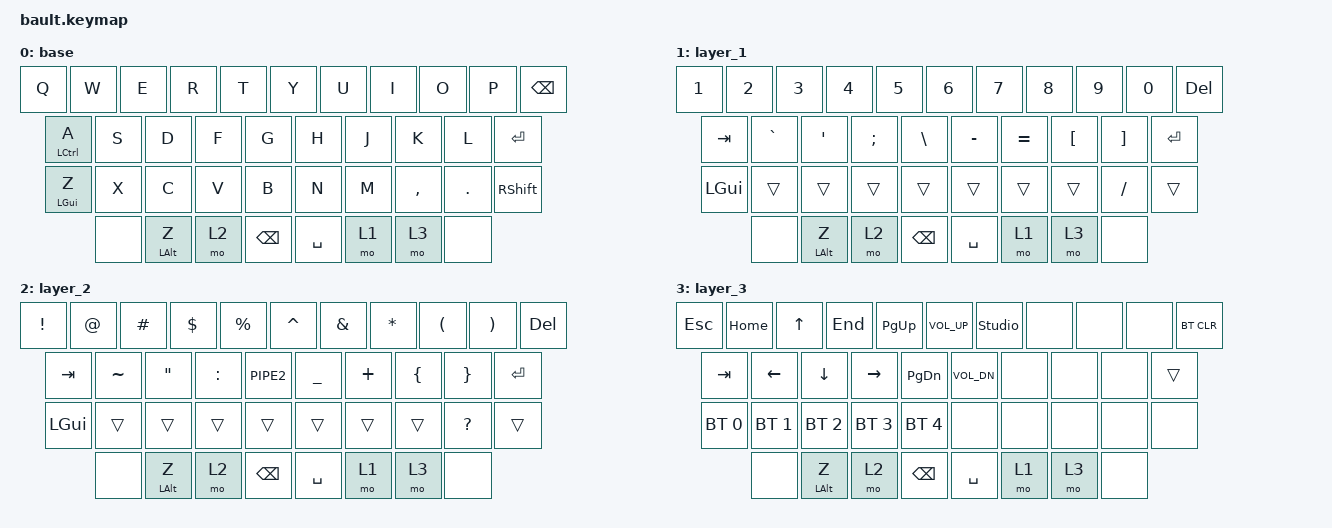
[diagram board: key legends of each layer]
#include <behaviors.dtsi>
#include <dt-bindings/zmk/keys.h>
#include <dt-bindings/zmk/bt.h>
#include <dt-bindings/zmk/outputs.h>

/ {

    behaviors {
        hm: homerow_mods {
            compatible = "zmk,behavior-hold-tap";
            display-name = "Homerow Mods";
            bindings = <&kp>, <&kp>;

            #binding-cells = <2>;
            tapping-term-ms = <200>;
            quick-tap-ms = <180>;
            require-prior-idle-ms = <0>;
            flavor = "tap-preferred";
        };
    };


    keymap {
        compatible = "zmk,keymap";

        base {
            bindings = <
            //┬──────────┬──────────┬──────────┬──────────┬──────────┬──────────┬──────────┬──────────┬──────────┬──────────┬─-─────────╮
            //│   Q      │  W       │  E       │  R       │  T       │  Y       │  U       │  I       │  O       │   P      │    BKSP   |
                &kp Q      &kp W      &kp E      &kp R      &kp T      &kp Y      &kp U      &kp I      &kp O      &kp P      &kp BKSP
            //├──────────╯───┬──────╯───┬──────╯───┬──────╯───┬──────╯───┬──────╯───┬──────╯───┬──────╯───┬──────╯───┬──────╯───────────┤
            //│      A       │  S       │  D       │  F       │  G       │  H       │  J       │  K       │  L       │       ENTER      |
                &hm LCTRL A     &kp S    &kp D       &kp F      &kp G      &kp H      &kp J      &kp K       &kp L       &kp ENTER
            //├──────────────╯───┬──────╯───┬──────╯───┬──────╯───┬──────╯───┬──────╯───┬──────╯───┬──────╯───┬──────╯───┬──────────────┤
            //│          Z       │  X       │  C       │  V       │  B       |   N      │  M       │ , <      │ . >      │     RSHIFT   |
                &hm LGUI Z          &kp X      &kp C      &kp V      &kp B      &kp N      &kp M    &kp COMMA   &kp PERIOD   &kp RSHIFT
            //├───────────────┬──╯───────┬──╯───────┬──╯──────────╯───────┬──╯──────────╯───────┬──╯───────┬──╯───────┬──╯──────────────┤
            //                |   LALT   |   MO2    |       BACKSPACE     |       SPACE         |   MO1    |  MO3     |
                  &none        &hm LALT Z    &mo 2      &kp BKSP               &kp SPACE           &mo 1      &mo 3       &none
            //                ┴──────────╯──────────╯────────────────--───╯──────------------───╯──────────╯──────────╯
            >;
        };

        layer_1 {
            bindings = <

            //┬──────────┬──────────┬──────────┬──────────┬──────────┬──────────┬──────────┬──────────┬──────────┬──────────┬─-─────────╮
            //│   1      │  2       │  3       │  4       │  5       │     6    │     7    │     8    │     9    │   0      │    DEL    |
                 &kp N1     &kp N2    &kp N3    &kp N4     &kp N5     &kp N6      &kp N7     &kp N8     &kp N9     &kp N0     &kp DEL
            //├──────────╯───┬──────╯───┬──────╯───┬──────╯───┬──────╯───┬──────╯───┬──────╯───┬──────╯───┬──────╯───┬──────╯───────────┤
            //│     TAB      │     `    │     '    │    ;     │    \     │    -     │     =    │   [      │     ]    │       ENTER      |
                &kp TAB       &kp GRAVE   &kp APOS   &kp SEMI   &kp BSLH  &kp MINUS   &kp EQUAL  &kp LBKT   &kp RBKT        &kp ENTER 
            //├──────────────╯───┬──────╯───┬──────╯───┬──────╯───┬──────╯───┬──────╯───┬──────╯───┬──────╯───┬──────╯───┬──────────────┤
            //│                  │          │          │          │          |          │          │          │     /    │     RSHIFT   |
                     &kp LGUI       &trans     &trans     &trans     &trans      &trans     &trans   &trans     &kp FSLH      &trans
            //├───────────────┬──╯───────┬──╯───────┬──╯──────────╯───────┬──╯──────────╯───────┬──╯───────┬──╯───────┬──╯──────────────┤
            //                |   LALT   |   MO2    |       BACKSPACE     |       SPACE         |   MO1    |  MO3     |
                  &none        &hm LALT Z   &mo 2           &kp BKSP            &kp SPACE          &mo 1      &mo 3       &none
            //                ┴──────────╯──────────╯────────────────--───╯──────------------───╯──────────╯──────────╯
            >;
        };

        layer_2 {
            bindings = <

            //┬──────────┬──────────┬──────────┬──────────┬──────────┬──────────┬──────────┬──────────┬──────────┬──────────┬─-─────────╮
            //│    !     │     @    │     #    │     $    │     %    │     ^    │     &    │     *    │     (    │   )      │    DEL    |
                &kp EXCL    &kp AT   &kp POUND   &kp DLLR  &kp PRCNT   &kp CARET  &kp AMPS   &kp STAR   &kp LPAR   &kp RPAR &kp DEL
            //├──────────╯───┬──────╯───┬──────╯───┬──────╯───┬──────╯───┬──────╯───┬──────╯───┬──────╯───┬──────╯───┬──────╯───────────┤
            //│     TAB      │     ~    │     "    │    :     │    |     │    _     │     +    │   {      │  }       │       ENTER      |
                   &kp TAB      &kp TILDE  &kp DQT   &kp COLON  &kp PIPE2  &kp UNDER   &kp PLUS   &kp LBRC   &kp RBRC     &kp ENTER 
            //├──────────────╯───┬──────╯───┬──────╯───┬──────╯───┬──────╯───┬──────╯───┬──────╯───┬──────╯───┬──────╯───┬──────────────┤
            //│                  │          │          │          │          |          │          │          │     ?    │    RSHIFT    |
                     &kp LGUI      &trans     &trans     &trans     &trans      &trans     &trans   &trans     &kp QMARK      &trans
            //├───────────────┬──╯───────┬──╯───────┬──╯──────────╯───────┬──╯──────────╯───────┬──╯───────┬──╯───────┬──╯──────────────┤
            //                |   LALT   |   MO2    |       BACKSPACE     |       SPACE         |   MO1    |  MO3     |
                  &none        &hm LALT Z   &mo 2           &kp BKSP            &kp SPACE          &mo 1      &mo 3       &none
            //                ┴──────────╯──────────╯────────────────--───╯──────------------───╯──────────╯──────────╯
            >;
        };

        layer_3 {
            bindings = <

            //┬──────────┬──────────┬──────────┬──────────┬──────────┬──────────┬──────────┬──────────┬──────────┬──────────┬─-─────────╮
            //│   ESC    │          │          │          │          │          │          │          │          │          │           |
                 &kp ESC  &kp HOME    &kp UP    &kp END   &kp PG_UP &kp C_VOL_UP &studio_unlock &none   &none      &none    &bt BT_CLR
            //├──────────╯───┬──────╯───┬──────╯───┬──────╯───┬──────╯───┬──────╯───┬──────╯───┬──────╯───┬──────╯───┬──────╯───────────┤
            //│     TAB      │          │          │          │          │          │          │          │          │       ENTER      |
                  &kp TAB      &kp LEFT   &kp DOWN  &kp RIGHT   &kp PG_DN &kp C_VOL_DN  &none     &none      &none           &trans
            //├──────────────╯───┬──────╯───┬──────╯───┬──────╯───┬──────╯───┬──────╯───┬──────╯───┬──────╯───┬──────╯───┬──────────────┤
            //│                  │          │          │          │          |          │          │          │          │     RSHIFT   |
                 &bt BT_SEL 0    &bt BT_SEL 1 &bt BT_SEL 2 &bt BT_SEL 3 &bt BT_SEL 4 &none &none     &none      &none         &none
            //├───────────────┬──╯───────┬──╯───────┬──╯──────────╯───────┬──╯──────────╯───────┬──╯───────┬──╯───────┬──╯──────────────┤
            //                |   LALT   |   MO2    |       BACKSPACE     |       SPACE         |   MO1    |  MO3     |
                  &none        &hm LALT Z   &mo 2           &kp BKSP            &kp SPACE          &mo 1      &mo 3       &none
            //                ┴──────────╯──────────╯────────────────--───╯──────------------───╯──────────╯──────────╯
            >;
        };
    };
};
